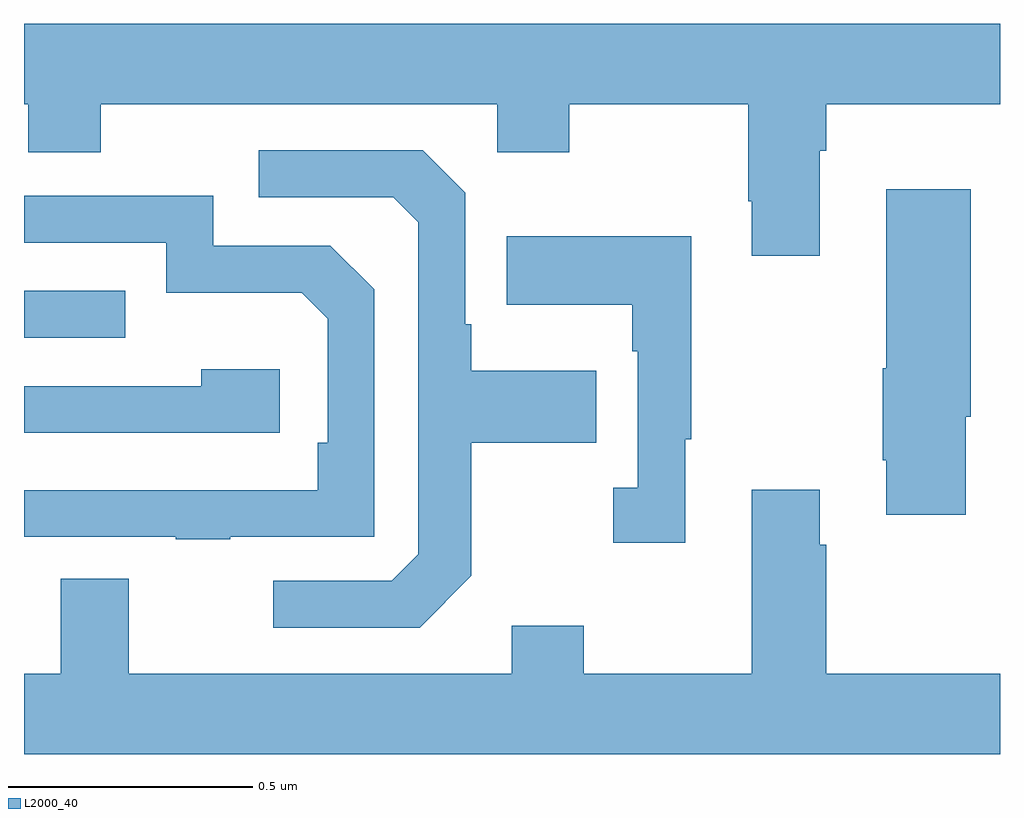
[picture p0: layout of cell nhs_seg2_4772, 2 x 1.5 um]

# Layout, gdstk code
import gdstk
lib = gdstk.Library(unit=1e-6, precision=1e-09)
def R(c, l, rs):  # rectangles x0, y0, x1, y1
    for r in rs: c.add(gdstk.rectangle(r[:2], r[2:], *l))
def P(c, l, *ps):  # polygons
    for p in ps: c.add(gdstk.Polygon(p, *l))
L2000_40 = (2000, 40)

nhs_seg2_4772 = lib.new_cell('nhs_seg2_4772')
R(nhs_seg2_4772, L2000_40, [(170,661.809,170.207,661.905)])
P(nhs_seg2_4772, L2000_40, [(171.631,662.192),(171.644,662.192),(171.644,662.288),(172,662.288),(172,662.452),(170,662.452),(170,662.288),(170.009,662.288),(170.009,662.189),(170.157,662.189),(170.157,662.288),(170.97,662.288),(170.97,662.189),(171.117,662.189),(171.117,662.288),(171.484,662.288),(171.484,662.089),(171.491,662.089),(171.491,661.977),(171.631,661.977)],
  [(170.917,661.321),(170.917,661.594),(171.173,661.594),(171.173,661.741),(170.917,661.741),(170.917,661.837),(170.904,661.837),(170.904,662.106),(170.817,662.193),(170.481,662.193),(170.481,662.097),(170.757,662.097),(170.808,662.046),(170.808,661.365),(170.754,661.311),(170.511,661.311),(170.511,661.215),(170.811,661.215)],
  [(171.93,661.647),(171.94,661.647),(171.94,662.113),(171.767,662.113),(171.767,661.747),(171.76,661.747),(171.76,661.558),(171.767,661.558),(171.767,661.446),(171.93,661.446)],
  [(170.423,661.401),(170.718,661.401),(170.718,661.908),(170.628,661.998),(170.388,661.998),(170.388,662.1),(170,662.1),(170,662.004),(170.292,662.004),(170.292,661.901),(170.569,661.901),(170.622,661.848),(170.622,661.594),(170.602,661.594),(170.602,661.497),(170,661.497),(170,661.401),(170.311,661.401),(170.311,661.396),(170.423,661.396)],
  [(171.355,661.601),(171.367,661.601),(171.367,662.017),(170.989,662.017),(170.989,661.877),(171.246,661.877),(171.246,661.781),(171.258,661.781),(171.258,661.502),(171.207,661.502),(171.207,661.389),(171.355,661.389)],
  [(170.524,661.744),(170.363,661.744),(170.363,661.71),(170,661.71),(170,661.614),(170.524,661.614)],
  [(172,661.12),(171.644,661.12),(171.644,661.385),(171.631,661.385),(171.631,661.498),(171.491,661.498),(171.491,661.12),(171.147,661.12),(171.147,661.219),(170.999,661.219),(170.999,661.12),(170.215,661.12),(170.215,661.315),(170.075,661.315),(170.075,661.12),(170,661.12),(170,660.956),(172,660.956)])

lib.write_gds('nhs_seg2_4772.gds')
